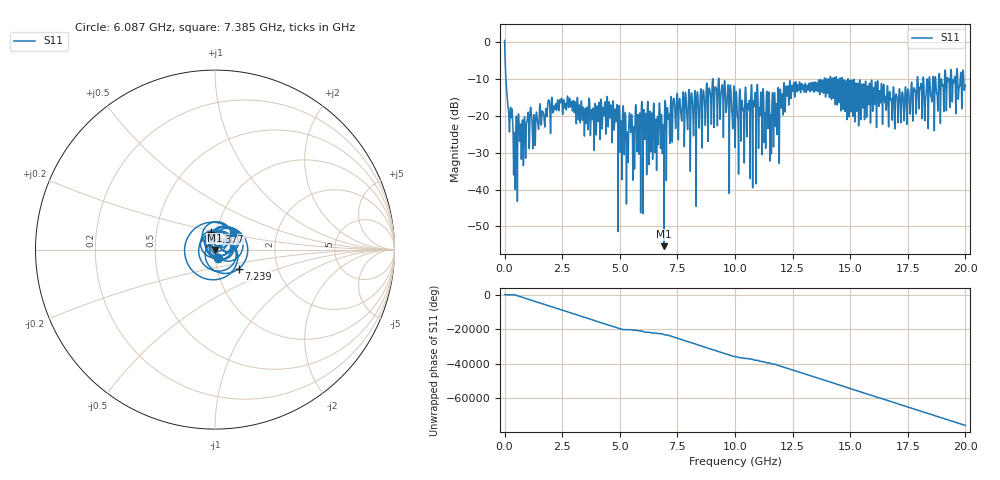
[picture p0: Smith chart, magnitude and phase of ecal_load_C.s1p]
! MS46122B
! 2250307/22442219
! 7/24/2025 7:35:36 AM
! C:\USERS\SPARKY\DOCUMENTS\VNA_DATA\JULY24_2025\3K\ECAL_LOAD_C.S1P
! CHANNEL.1
! TR.MEASUREMENT
! RAW.DATA
# GHZ S RI R 50.0
! FREQ.GHZ  S11RE  S11IM
!; PortSelection: Port_1
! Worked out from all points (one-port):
!   10001 points, 1 MHz to 20 GHz, reference 50 ohm
!   lowest |S11| = -55.4 dB at 6.917 GHz (marker M1), VSWR 1.00, Z = 49.9 - j0.155 ohm
!   |S11| at or under -10 dB: 56.76 MHz to 9.029 GHz (8.972 GHz wide, 198 % of centre); 9.3 GHz to 13.88 GHz (4.579 GHz wide, 39.5 % of centre); 14.91 GHz to 17.91 GHz (3 GHz wide, 18.3 % of centre) (the widest 3 of 27)
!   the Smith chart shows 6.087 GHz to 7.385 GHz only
!   S11 on the Smith chart (normalised r, x): 6.087 GHz: 1.03, -0.10; 6.377 GHz: 0.94, +0.19; 7.239 GHz: 1.27, -0.28; 7.385 GHz: 1.20, +0.23
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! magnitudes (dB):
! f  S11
! 1 MHz  0.4
! 145 MHz  -17.5
! 469 MHz  -34.6
! 585 MHz  -21.1
! 821 MHz  -32.4
! 1.075 GHz  -28.3
! 1.271 GHz  -20.1
! 2.501 GHz  -17.5
! 3.807 GHz  -20.9
! 4.527 GHz  -17.0
! 5.001 GHz  -20.7
! 6.087 GHz  -26.1
! 6.377 GHz  -19.7
! 6.917 GHz  -55.4
! 7.239 GHz  -15.4
! 7.385 GHz  -17.3
! 7.501 GHz  -14.4
! 8.389 GHz  -14.6
! 9.103 GHz  -17.7
! 10 GHz  -22.5
! 10.08 GHz  -17.1
! 10.84 GHz  -17.0
! 10.9 GHz  -17.6
! 11.59 GHz  -20.5
! 12.5 GHz  -13.2
! 15 GHz  -11.1
! 17.5 GHz  -13.1
! 20 GHz  -11.9
